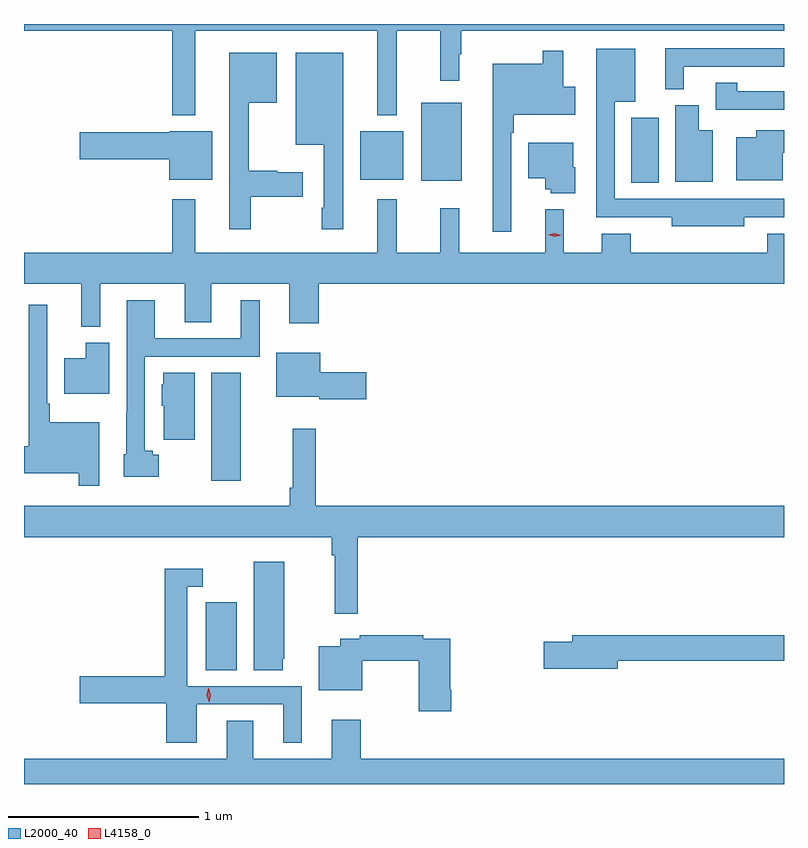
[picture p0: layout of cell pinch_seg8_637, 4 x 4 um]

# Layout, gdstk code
import gdstk
lib = gdstk.Library(unit=1e-6, precision=1e-09)
def R(c, l, rs):  # rectangles x0, y0, x1, y1
    for r in rs: c.add(gdstk.rectangle(r[:2], r[2:], *l))
def P(c, l, *ps):  # polygons
    for p in ps: c.add(gdstk.Polygon(p, *l))
L2000_40 = (2000, 40)
L4158_0 = (4158, 0)

pinch_seg8_637 = lib.new_cell('pinch_seg8_637')
R(pinch_seg8_637, L2000_40, [(327.836,1083.832,328,1084.189), (327.866,1084.827,328.021,1085.396), (330.077,1086.397,330.22,1086.739), (328.97,1086.407,329.185,1086.817), (328.649,1086.413,328.876,1086.667)])
P(pinch_seg8_637, L2000_40, [(327.781,1087.196),(328.739,1087.196),(328.739,1086.752),(328.843,1086.752),(328.843,1087.196),(329.071,1087.196),(329.071,1086.933),(329.17,1086.933),(329.17,1087.073),(329.182,1087.073),(329.182,1087.196),(330.88,1087.196),(330.88,1087.232),(326.88,1087.232),(326.88,1087.196),(327.66,1087.196),(327.66,1086.752),(327.781,1086.752)],
  [(330.352,1087.008),(330.88,1087.008),(330.88,1087.104),(330.254,1087.104),(330.254,1086.889),(330.352,1086.889)],
  [(330.67,1086.216),(330.88,1086.216),(330.88,1086.312),(329.988,1086.312),(329.988,1086.824),(330.097,1086.824),(330.097,1087.102),(329.892,1087.102),(329.892,1086.216),(330.29,1086.216),(330.29,1086.167),(330.67,1086.167)],
  [(329.445,1086.659),(329.458,1086.659),(329.458,1086.755),(329.782,1086.755),(329.782,1086.903),(329.719,1086.903),(329.719,1087.09),(329.61,1087.09),(329.61,1087.024),(329.348,1087.024),(329.348,1086.138),(329.445,1086.138)],
  [(328.073,1086.322),(328.348,1086.322),(328.348,1086.451),(328.214,1086.451),(328.214,1086.459),(328.063,1086.459),(328.063,1086.818),(328.21,1086.818),(328.21,1087.081),(327.959,1087.081),(327.959,1086.153),(328.073,1086.153)],
  [(328.561,1087.081),(328.31,1087.081),(328.31,1086.596),(328.457,1086.596),(328.457,1086.265),(328.447,1086.265),(328.447,1086.153),(328.561,1086.153)],
  [(330.88,1086.877),(330.635,1086.877),(330.635,1086.923),(330.522,1086.923),(330.522,1086.78),(330.88,1086.78)],
  [(330.505,1086.673),(330.43,1086.673),(330.43,1086.804),(330.308,1086.804),(330.308,1086.401),(330.505,1086.401)],
  [(330.874,1086.555),(330.88,1086.555),(330.88,1086.673),(330.734,1086.673),(330.734,1086.637),(330.629,1086.637),(330.629,1086.41),(330.874,1086.41)],
  [(327.871,1086.667),(327.648,1086.667),(327.648,1086.662),(327.174,1086.662),(327.174,1086.52),(327.644,1086.52),(327.644,1086.413),(327.871,1086.413)],
  [(329.782,1086.477),(329.77,1086.477),(329.77,1086.607),(329.534,1086.607),(329.534,1086.419),(329.624,1086.419),(329.624,1086.363),(329.652,1086.363),(329.652,1086.341),(329.782,1086.341)],
  [(330.88,1086.127),(330.791,1086.127),(330.791,1086.028),(330.074,1086.028),(330.074,1086.127),(329.921,1086.127),(329.921,1086.028),(329.722,1086.028),(329.722,1086.256),(329.624,1086.256),(329.624,1086.028),(329.171,1086.028),(329.171,1086.262),(329.071,1086.262),(329.071,1086.028),(328.843,1086.028),(328.843,1086.31),(328.739,1086.31),(328.739,1086.028),(327.781,1086.028),(327.781,1086.31),(327.66,1086.31),(327.66,1086.028),(326.88,1086.028),(326.88,1085.864),(327.182,1085.864),(327.182,1085.639),(327.28,1085.639),(327.28,1085.864),(327.725,1085.864),(327.725,1085.662),(327.865,1085.662),(327.865,1085.864),(328.277,1085.864),(328.277,1085.658),(328.43,1085.658),(328.43,1085.864),(330.88,1085.864)],
  [(327.589,1084.964),(327.558,1084.964),(327.558,1084.985),(327.516,1084.985),(327.516,1085.481),(328.12,1085.481),(328.12,1085.779),(328.022,1085.779),(328.022,1085.577),(327.568,1085.577),(327.568,1085.779),(327.42,1085.779),(327.42,1085.189),(327.419,1085.189),(327.419,1084.968),(327.404,1084.968),(327.404,1084.85),(327.589,1084.85)],
  [(327.276,1085.137),(327.016,1085.137),(327.016,1085.233),(327.003,1085.233),(327.003,1085.755),(326.906,1085.755),(326.906,1085.009),(326.88,1085.009),(326.88,1084.868),(327.168,1084.868),(327.168,1084.803),(327.276,1084.803)],
  [(327.328,1085.554),(327.206,1085.554),(327.206,1085.473),(327.092,1085.473),(327.092,1085.285),(327.328,1085.285)],
  [(328.681,1085.4),(328.438,1085.4),(328.438,1085.503),(328.208,1085.503),(328.208,1085.27),(328.434,1085.27),(328.434,1085.258),(328.681,1085.258)],
  [(327.778,1085.396),(327.614,1085.396),(327.614,1085.337),(327.605,1085.337),(327.605,1085.223),(327.615,1085.223),(327.615,1085.043),(327.778,1085.043)],
  [(328.637,1084.532),(330.88,1084.532),(330.88,1084.696),(328.415,1084.696),(328.415,1085.101),(328.294,1085.101),(328.294,1084.792),(328.279,1084.792),(328.279,1084.696),(326.88,1084.696),(326.88,1084.532),(328.501,1084.532),(328.501,1084.436),(328.516,1084.436),(328.516,1084.128),(328.637,1084.128)],
  [(328.243,1083.891),(328.249,1083.891),(328.249,1084.402),(328.088,1084.402),(328.088,1083.832),(328.243,1083.832)],
  [(327.79,1083.651),(328.244,1083.651),(328.244,1083.45),(328.342,1083.45),(328.342,1083.747),(327.738,1083.747),(327.738,1084.269),(327.82,1084.269),(327.82,1084.366),(327.622,1084.366),(327.622,1083.8),(327.174,1083.8),(327.174,1083.658),(327.629,1083.658),(327.629,1083.45),(327.79,1083.45)],
  [(329.129,1083.727),(329.124,1083.727),(329.124,1083.996),(328.982,1083.996),(328.982,1084.016),(328.648,1084.016),(328.648,1083.997),(328.544,1083.997),(328.544,1083.958),(328.43,1083.958),(328.43,1083.725),(328.66,1083.725),(328.66,1083.88),(328.958,1083.88),(328.958,1083.615),(329.129,1083.615)],
  [(330.004,1083.88),(330.88,1083.88),(330.88,1084.016),(329.765,1084.016),(329.765,1083.98),(329.616,1083.98),(329.616,1083.838),(330.004,1083.838)],
  [(330.88,1083.364),(328.652,1083.364),(328.652,1083.571),(328.499,1083.571),(328.499,1083.364),(328.087,1083.364),(328.087,1083.566),(327.947,1083.566),(327.947,1083.364),(326.88,1083.364),(326.88,1083.232),(330.88,1083.232)])
P(pinch_seg8_637, L4158_0, [(329.673,1086.112),(329.639,1086.122),(329.639,1086.122),(329.639,1086.123),(329.673,1086.132),(329.707,1086.121),(329.707,1086.121),(329.707,1086.121)],
  [(327.854,1083.663),(327.843,1083.698),(327.851,1083.735),(327.852,1083.735),(327.852,1083.735),(327.863,1083.699),(327.855,1083.663),(327.855,1083.663)])

lib.write_gds('pinch_seg8_637.gds')
